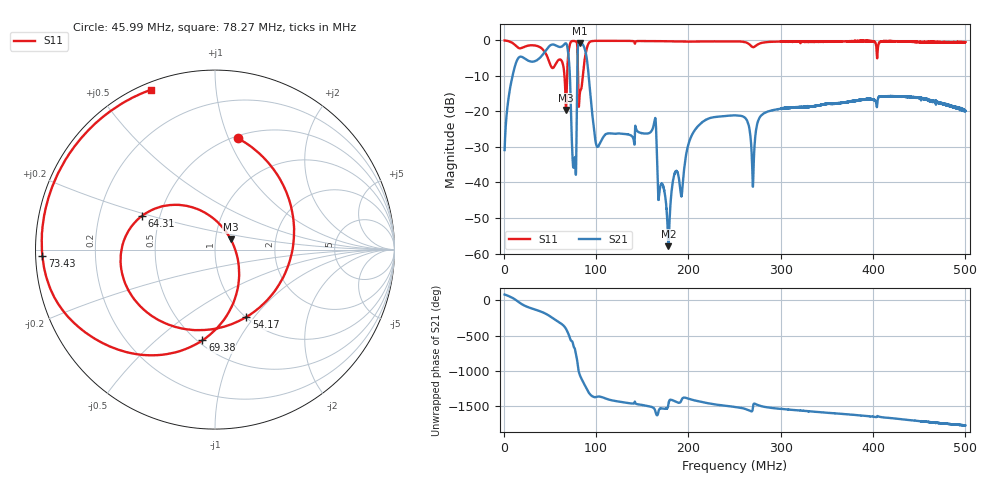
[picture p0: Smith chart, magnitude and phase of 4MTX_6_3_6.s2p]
! NanoVNA-App
! Date: 2026-08-18 21:46:24
! Start: 1MHz Stop: 500MHz Points: 6401
! S-Parameter data: F S11 S21 S12 S22
# Hz S RI R 50
!  Frequency  S11_Real  S11_Imag  S21_Real  S21_Imag  S12_Real  S12_Imag  S22_Real  S22_Imag
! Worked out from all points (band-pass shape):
!   6401 points, 1 MHz to 500 MHz, reference 50 ohm
!   highest |S21| = -0.84 dB at 82.24 MHz (marker M1); lowest = -57.9 dB at 178.3 MHz (marker M2)
!   |S21| within 3 dB of the highest: 43.01 MHz to 69.95 MHz (26.94 MHz wide, 47.7 % of centre); 80.06 MHz to 89.1 MHz (9.046 MHz wide, 10.7 % of centre)
!   lowest |S11| = -19.6 dB at 67.43 MHz (marker M3), VSWR 1.23, Z = 59.2 + j6.76 ohm
!   |S11| at or under -10 dB: 65.82 MHz to 68.61 MHz (2.789 MHz wide, 4.15 % of centre); 80.51 MHz to 85.66 MHz (5.146 MHz wide, 6.19 % of centre)
!   S12 and S22 are empty: the file has one direction only
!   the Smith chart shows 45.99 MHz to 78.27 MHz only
!   S11 on the Smith chart (normalised r, x): 45.99 MHz: 0.52, +1.08; 54.17 MHz: 1.01, -0.91; 64.31 MHz: 0.40, +0.19; 69.38 MHz: 0.53, -0.72; 73.43 MHz: 0.02, -0.02; 78.27 MHz: 0.03, +0.68
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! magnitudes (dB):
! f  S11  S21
! 1 MHz  -0.1  -30.9
! 14.49 MHz  -1.9  -5.6
! 45.99 MHz  -4.0  -2.8
! 54.17 MHz  -7.7  -1.3
! 64.31 MHz  -7.0  -1.6
! 67.43 MHz  -19.6  -0.9
! 69.38 MHz  -5.8  -2.6
! 73.43 MHz  -0.3  -25.4
! 78.27 MHz  -0.4  -37.5
! 82.24 MHz  -15.5  -0.8
! 84.19 MHz  -13.5  -0.9
! 101.2 MHz  -0.2  -30.0
! 162.7 MHz  -0.3  -23.6
! 167.4 MHz  -0.3  -44.1
! 178.3 MHz  -0.3  -57.9
! 206.1 MHz  -0.4  -25.6
! 250.5 MHz  -0.4  -21.2
! 269.9 MHz  -2.0  -41.2
! 280.1 MHz  -0.7  -20.9
! 333.7 MHz  -0.5  -18.8
! 416.9 MHz  -0.3  -15.7
! 500 MHz  -0.6  -19.9
